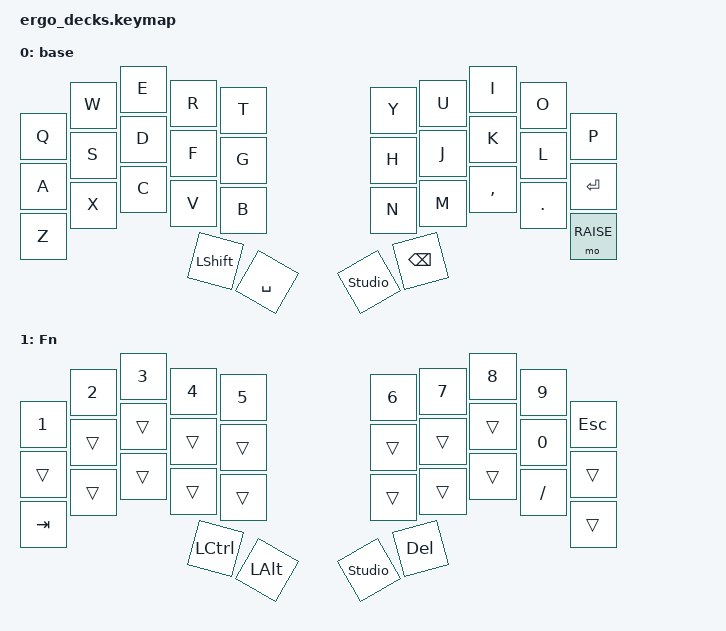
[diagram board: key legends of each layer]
#include <behaviors.dtsi>
#include <dt-bindings/zmk/keys.h>

#define RAISE 1

/ {
    keymap {
        compatible = "zmk,keymap";
        base { 
            display-name = "base";
            bindings = <
                &kp Q    &kp W    &kp E    &kp R      &kp T         &kp Y          &kp U    &kp I     &kp O    &kp P
                &kp A    &kp S    &kp D    &kp F      &kp G         &kp H          &kp J    &kp K     &kp L    &kp RETURN
                &kp Z    &kp X    &kp C    &kp V      &kp B         &kp N          &kp M    &kp COMMA &kp DOT  &mo RAISE
                                           &kp LSHIFT &kp SPACE     &studio_unlock      &kp BSPC
            >;
        };
        fn_layer {
            display-name = "Fn";
            bindings = <
                &kp 1     &kp 2     &kp 3     &kp 4       &kp 5        &kp 6           &kp 7     &kp 8      &kp 9     &kp ESC
                &trans    &trans    &trans    &trans      &trans       &trans          &trans    &trans     &kp 0    &trans
                &kp TAB   &trans    &trans    &trans      &trans       &trans          &trans    &trans     &kp SLASH &trans
                                              &kp LCTRL    &kp LALT    &studio_unlock  &kp DEL
            >;
        };

        extra1 {
           status = "reserved";
        };

        extra2 {
            status = "reserved";
        };
    };
};
